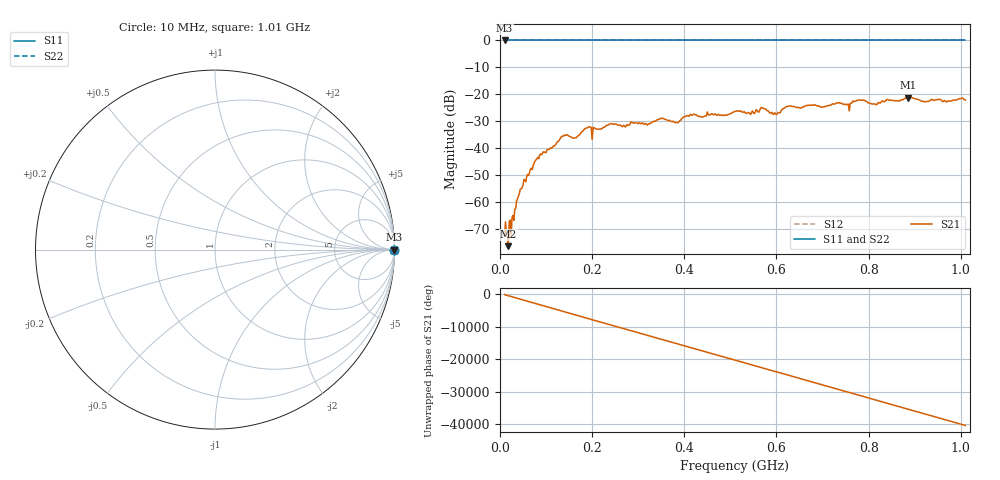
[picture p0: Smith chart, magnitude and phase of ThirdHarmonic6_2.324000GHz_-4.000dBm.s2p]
! 8/17/2025 3:18:57 AM
! C:\ANRITSUVNA\TEMP\TEMP.S2P
! CHANNEL.1
! TR.MEASUREMENT
! RAW.DATA
! RF.CORRECTION.OFF
! AVERAGING.OFF
! IF.BANDWIDTH: 5KHZ
! SWEEPTYPE:  FREQ.SWEEP(Linear)
! Reference Plane Port Info
! PORT:  PORT1  PORT2
! DISTANCE:  0  m  0  m
! TIME:  0  s  0  s
! PHASE.OFFSET:  0  deg.  0  deg.
! LOSS:  0  dB  0  dB
! REF.LOSS:  0  dB  0  dB
! REF.FREQ:  0  Hz  0  Hz
! Power Info
! POWER:  -20  dBm  -20  dBm
! EFF.POWER:  -20  dBm  -20  dBm
! SOURCE.ATTEN:  0  dB  0  dB
! TEST.ATTEN:  0  dB  0  dB
# GHZ S RI R 50.0
! FREQ.GHZ  S11RE  S11IM  S21RE  S21IM  S12RE  S12IM  S22RE  S22IM
!; PortSelection: Port_12
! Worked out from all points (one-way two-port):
!   501 points, 10 MHz to 1.01 GHz, reference 50 ohm
!   highest |S21| = -21.20 dB at 886 MHz (marker M1); lowest = -76.3 dB at 18 MHz (marker M2)
!   lowest |S11| = 0.0 dB at 10 MHz (marker M3)
!   |S11| at or under -10 dB: nowhere
!   |S22| runs from 0.0 to 0.0 dB; largest |S21 - S12| = 1.1
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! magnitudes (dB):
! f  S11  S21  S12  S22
! 10 MHz  0.0  -72.6  0.0  0.0
! 18 MHz  0.0  -76.3  0.0  0.0
! 28 MHz  0.0  -64.9  0.0  0.0
! 40 MHz  0.0  -57.7  0.0  0.0
! 48 MHz  0.0  -54.7  0.0  0.0
! 78 MHz  0.0  -44.3  0.0  0.0
! 136 MHz  0.0  -35.6  0.0  0.0
! 162 MHz  0.0  -36.1  0.0  0.0
! 178 MHz  0.0  -33.8  0.0  0.0
! 192 MHz  0.0  -32.2  0.0  0.0
! 344 MHz  0.0  -29.4  0.0  0.0
! 384 MHz  0.0  -30.5  0.0  0.0
! 416 MHz  0.0  -27.7  0.0  0.0
! 510 MHz  0.0  -26.3  0.0  0.0
! 548 MHz  0.0  -26.1  0.0  0.0
! 570 MHz  0.0  -25.1  0.0  0.0
! 596 MHz  0.0  -26.8  0.0  0.0
! 624 MHz  0.0  -24.5  0.0  0.0
! 678 MHz  0.0  -24.0  0.0  0.0
! 844 MHz  0.0  -22.2  0.0  0.0
! 886 MHz  0.0  -21.2  0.0  0.0
! 1.01 GHz  0.0  -22.1  0.0  0.0
